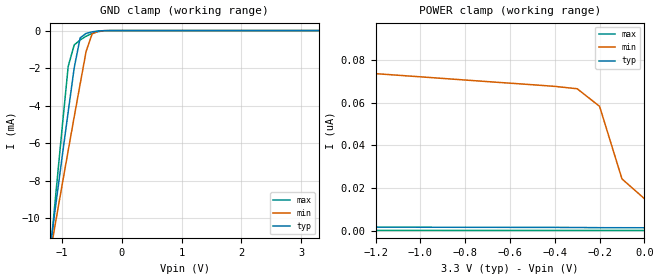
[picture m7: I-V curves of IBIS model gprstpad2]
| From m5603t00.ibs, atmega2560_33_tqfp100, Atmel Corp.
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|   Model gprstpad2
[Model]   gprstpad2
Model_type   Input
Polarity   Non-Inverting
Vinl =   0.99V
Vinh =   2.31V
C_comp   1.15pF   0.77pF   1.38pF
[Temperature Range]   27.00   0.12k   -55.00
[Voltage Range]   3.30V   3.00V   3.60V
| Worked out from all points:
|   GND clamp passes 1 mA (typ) near -0.74 V on its own axis
[GND_clamp]
| voltage   I(typ)   I(min)   I(max)
-3.3V     -66.68mA   -52.75mA   -90.12mA
-1.2V     -11.53mA   -11.86mA   -11.87mA
-1.1V     -9.1mA     -10.02mA   -8.47mA
-1V       -6.7mA     -8.2mA     -5.14mA
-900mV    -4.33mA    -6.4mA     -1.91mA
-800mV    -2mA       -4.61mA    -770uA
-700mV    -390uA     -2.85mA    -500uA
-600mV    -150uA     -1.11mA    -300uA
-500mV    -67.58uA   -180uA     -150uA
-400mV    -22.8uA    -32.09uA   -55.94uA
-200mV    -460nA     -810nA     -580nA
3.3V      1.49nA     66.54nA    210pA
[POWER_clamp]
| voltage   I(typ)   I(min)   I(max)
-3.3V     1.17uA     1.54uA     930nA
-3V       250nA      580nA      100nA
-2.9V     140nA      410nA      40.92nA
-2.8V     72.73nA    300nA      15.89nA
-2.7V     38.37nA    220nA      6nA
-2.6V     20.36nA    170nA      2.3nA
-2.2V     2.98nA     92.8nA     310pA
-1.8V     1.92nA     79.4nA     270pA
-300mV    1.61nA     66.54nA    230pA
-200mV    1.52nA     58.31nA    220pA
-100mV    1.5nA      24.34nA    220pA
0V        1.49nA     15.11nA    220pA
